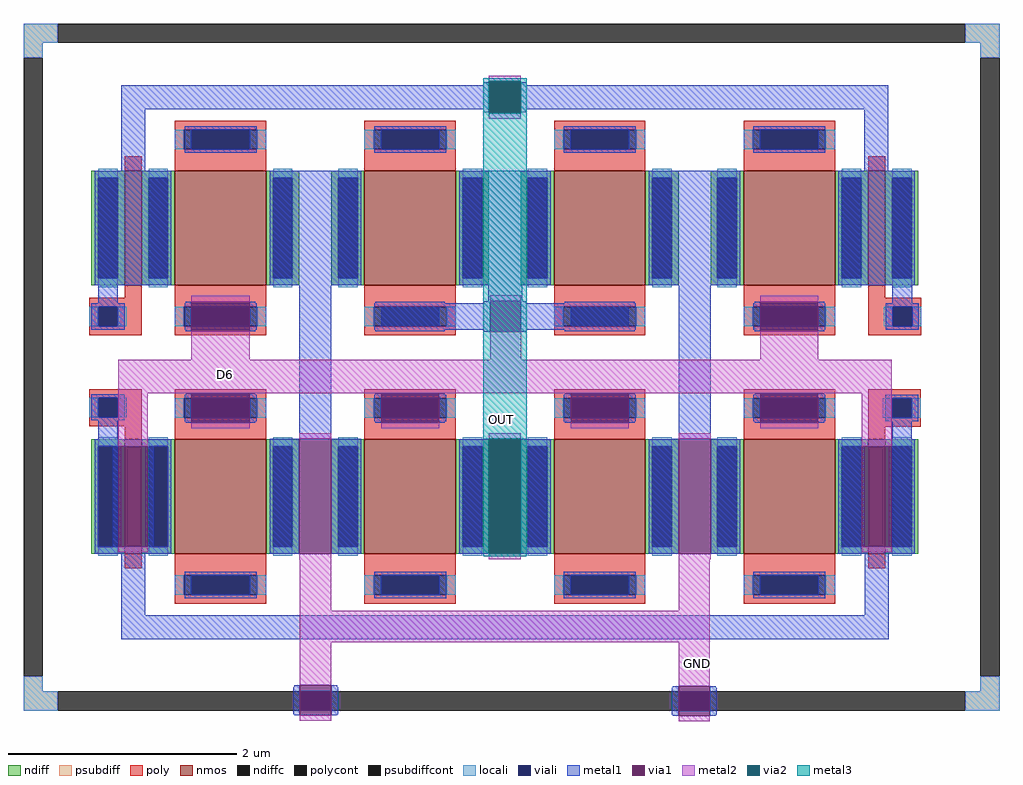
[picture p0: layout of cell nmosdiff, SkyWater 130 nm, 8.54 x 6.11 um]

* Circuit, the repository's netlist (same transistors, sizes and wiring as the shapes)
** sch_path: /home/zulfas/operationalamplifier/nmosdiff/nmosdiff.sch
.subckt nmosdiff GND OUT D6
*.PININFO GND:B OUT:O D6:B
XM8 D6 D6 GND GND sky130_fd_pr__nfet_01v8 L=0.8 W=1 nf=1 m=4
XM9 OUT D6 GND GND sky130_fd_pr__nfet_01v8 L=0.8 W=1 nf=1 m=4
XM3 D6 D6 D6 GND sky130_fd_pr__nfet_01v8 L=0.15 W=1 nf=1 m=2
XM4 OUT OUT OUT GND sky130_fd_pr__nfet_01v8 L=0.15 W=1 nf=1 m=2
.ends
.end

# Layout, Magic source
magic
tech sky130A
magscale 1 2
<< psubdiff >>
rect -214 525 -154 559
rect 1435 525 1495 559
rect -214 499 -180 525
rect 1461 499 1495 525
rect -214 -610 -180 -584
rect 1461 -610 1495 -584
rect -214 -644 -154 -610
rect 1435 -644 1495 -610
<< psubdiffcont >>
rect -154 525 1435 559
rect -214 -584 -180 499
rect 1461 -584 1495 499
rect -154 -644 1435 -610
<< poly >>
rect -37 79 -7 100
rect -99 63 -7 79
rect -99 29 -83 63
rect -49 29 -7 63
rect -99 13 -7 29
rect 1265 79 1295 93
rect 1265 63 1358 79
rect 1265 29 1308 63
rect 1342 29 1358 63
rect 1265 13 1358 29
rect -99 -96 -7 -81
rect -99 -130 -83 -96
rect -49 -130 -7 -96
rect -99 -146 -7 -130
rect -37 -148 -7 -146
rect 1265 -97 1357 -81
rect 1265 -131 1307 -97
rect 1341 -131 1357 -97
rect 1265 -147 1357 -131
rect 1265 -149 1295 -147
<< polycont >>
rect -83 29 -49 63
rect 1308 29 1342 63
rect -83 -130 -49 -96
rect 1307 -131 1341 -97
<< locali >>
rect -214 525 -154 559
rect 1435 525 1495 559
rect -214 499 -180 525
rect 1461 499 1495 525
rect -99 29 -83 63
rect -49 29 -33 63
rect 1292 29 1308 63
rect 1342 29 1358 63
rect -99 -130 -83 -96
rect -49 -130 -33 -96
rect 1291 -131 1307 -97
rect 1341 -131 1357 -97
rect -214 -610 -180 -584
rect 1461 -610 1495 -584
rect -214 -644 -154 -610
rect 1435 -644 1495 -610
<< viali >>
rect -83 29 -49 63
rect 1308 29 1342 63
rect -83 -130 -49 -96
rect 1307 -131 1341 -97
rect 270 -610 325 -609
rect 270 -644 325 -610
rect 933 -644 988 -610
rect 933 -645 988 -644
<< metal1 >>
rect 591 451 601 456
rect -43 409 601 451
rect -43 301 -1 409
rect 591 404 601 409
rect 657 451 667 456
rect 657 409 1300 451
rect 657 404 667 409
rect 1258 301 1300 409
rect -89 101 45 301
rect 217 101 377 301
rect 549 101 709 301
rect 881 101 1041 301
rect 1213 101 1347 301
rect -83 69 -49 101
rect -95 63 -37 69
rect -95 29 -83 63
rect -49 29 -37 63
rect -95 23 -37 29
rect 70 20 80 72
rect 182 20 192 72
rect -95 -96 -37 -90
rect -95 -130 -83 -96
rect -49 -130 -37 -96
rect -95 -136 -37 -130
rect -83 -171 -49 -136
rect 70 -140 80 -88
rect 182 -140 192 -88
rect 269 -168 325 101
rect 600 73 659 101
rect 593 72 603 73
rect 402 69 524 72
rect 592 69 603 72
rect 400 23 603 69
rect 402 20 524 23
rect 592 20 603 23
rect 593 19 603 20
rect 657 69 667 73
rect 734 69 856 72
rect 657 23 858 69
rect 657 19 667 23
rect 734 20 856 23
rect 402 -140 412 -88
rect 514 -140 524 -88
rect 734 -140 744 -88
rect 846 -140 856 -88
rect 933 -168 989 101
rect 1066 20 1076 72
rect 1178 20 1188 72
rect 1307 69 1342 101
rect 1296 63 1354 69
rect 1296 29 1308 63
rect 1342 29 1354 63
rect 1296 23 1354 29
rect 1066 -140 1076 -88
rect 1178 -140 1188 -88
rect 1295 -97 1353 -91
rect 1295 -131 1307 -97
rect 1341 -131 1353 -97
rect 1295 -137 1353 -131
rect -82 -180 -49 -171
rect -43 -181 -1 -169
rect -58 -357 -48 -181
rect 4 -357 14 -181
rect -43 -477 -1 -357
rect 217 -368 269 -168
rect 259 -369 269 -368
rect 325 -368 377 -168
rect 591 -169 601 -168
rect 325 -369 335 -368
rect 549 -369 601 -169
rect 657 -169 667 -168
rect 923 -169 933 -168
rect 657 -369 709 -169
rect 881 -369 933 -169
rect 989 -169 999 -168
rect 1307 -169 1341 -137
rect 989 -369 1041 -169
rect 1213 -181 1347 -169
rect 1213 -357 1254 -181
rect 1306 -357 1347 -181
rect 1213 -369 1347 -357
rect 1259 -477 1301 -369
rect -43 -519 1301 -477
rect 260 -603 270 -600
rect 258 -650 270 -603
rect 325 -603 335 -600
rect 260 -652 270 -650
rect 325 -650 337 -603
rect 923 -604 933 -601
rect 325 -652 335 -650
rect 921 -651 933 -604
rect 988 -604 998 -601
rect 923 -653 933 -651
rect 988 -651 1000 -604
rect 988 -653 998 -651
<< via1 >>
rect 601 404 657 456
rect 80 20 182 72
rect 80 -140 182 -88
rect 603 19 657 73
rect 412 -140 514 -88
rect 744 -140 846 -88
rect 1076 20 1178 72
rect 1076 -140 1178 -88
rect -48 -357 4 -181
rect 269 -369 325 -168
rect 601 -369 657 -168
rect 933 -369 989 -168
rect 1254 -357 1306 -181
rect 270 -609 325 -600
rect 270 -644 325 -609
rect 270 -652 325 -644
rect 933 -610 988 -601
rect 933 -645 988 -610
rect 933 -653 988 -645
<< metal2 >>
rect 601 458 657 468
rect 601 392 657 402
rect 80 72 182 82
rect 80 -30 182 20
rect 603 73 657 83
rect 1076 72 1178 82
rect 657 19 658 25
rect 603 -30 658 19
rect 1076 -30 1178 20
rect -48 -88 1306 -30
rect -48 -181 4 -88
rect 80 -150 182 -140
rect 412 -150 514 -140
rect 744 -150 846 -140
rect 1076 -150 1178 -140
rect -48 -367 4 -357
rect 269 -168 325 -158
rect 269 -379 325 -369
rect 601 -168 657 -158
rect 601 -379 657 -369
rect 933 -168 989 -158
rect 1254 -181 1306 -88
rect 1254 -367 1306 -357
rect 933 -379 989 -369
rect 270 -469 325 -379
rect 933 -469 988 -379
rect 270 -524 988 -469
rect 270 -600 325 -524
rect 270 -662 325 -652
rect 933 -601 988 -524
rect 933 -663 988 -653
<< via2 >>
rect 601 456 657 458
rect 601 404 657 456
rect 601 402 657 404
rect 601 -369 657 -168
<< metal3 >>
rect 591 458 667 463
rect 591 402 601 458
rect 657 402 667 458
rect 591 -168 667 402
rect 591 -369 601 -168
rect 657 -369 667 -168
rect 591 -374 667 -369
use sky130_fd_pr__nfet_01v8_6H9P4D  sky130_fd_pr__nfet_01v8_6H9P4D_0
transform 1 0 1280 0 1 -269
box -73 -126 73 126
use sky130_fd_pr__nfet_01v8_6H9P4D  sky130_fd_pr__nfet_01v8_6H9P4D_1
transform 1 0 -22 0 1 -269
box -73 -126 73 126
use sky130_fd_pr__nfet_01v8_6H9P4D  sky130_fd_pr__nfet_01v8_6H9P4D_2
transform 1 0 -22 0 1 201
box -73 -126 73 126
use sky130_fd_pr__nfet_01v8_6H9P4D  sky130_fd_pr__nfet_01v8_6H9P4D_3
transform 1 0 1280 0 1 201
box -73 -126 73 126
use sky130_fd_pr__nfet_01v8_H42E3S  sky130_fd_pr__nfet_01v8_H42E3S_0
transform 1 0 629 0 1 -269
box -636 -188 636 188
use sky130_fd_pr__nfet_01v8_H42E3S  sky130_fd_pr__nfet_01v8_H42E3S_1
transform 1 0 629 0 1 201
box -636 -188 636 188
<< labels >>
flabel metal2 140 -56 140 -56 0 FreeSans 640 0 0 0 D6
port 0 nsew
flabel metal3 623 -134 623 -134 0 FreeSans 640 0 0 0 OUT
port 1 nsew
flabel metal2 967 -562 967 -562 0 FreeSans 640 0 0 0 GND
port 2 nsew
<< end >>

# cell sky130_fd_pr__nfet_01v8_6H9P4D: kit device sky130_fd_pr__nfet_01v8, w 1 l 0.150 m 1 nf 1 diffcov 100 polycov 100 guard 0 glc 1 grc 1 gtc 1 gbc 1 tbcov 100 rlcov 100 topc 0 botc 0 poverlap 0 doverlap 1 lmin 0.15 wmin 0.42 compatible {sky130_fd_pr__nfet_01v8 sky130_fd_pr__nfet_01v8_lvt sky130_fd_bs_flash__special_sonosfet_star sky130_fd_pr__nfet_g5v0d10v5 sky130_fd_pr__nfet_05v0_nvt sky130_fd_pr__nfet_03v3_nvt} full_metal 1 viasrc 100 viadrn 100 viagate 100 viagb 0 viagr 0 viagl 0 viagt 0

# cell sky130_fd_pr__nfet_01v8_H42E3S: kit device sky130_fd_pr__nfet_01v8, w 1 l 0.8 m 1 nf 4 diffcov 100 polycov 100 guard 0 glc 1 grc 1 gtc 1 gbc 1 tbcov 100 rlcov 100 topc 1 botc 1 poverlap 0 doverlap 0 lmin 0.15 wmin 0.42 compatible {sky130_fd_pr__nfet_01v8 sky130_fd_pr__nfet_01v8_lvt sky130_fd_bs_flash__special_sonosfet_star sky130_fd_pr__nfet_g5v0d10v5 sky130_fd_pr__nfet_05v0_nvt sky130_fd_pr__nfet_03v3_nvt} full_metal 1 viasrc 100 viadrn 100 viagate 80 viagb 0 viagr 0 viagl 0 viagt 0
